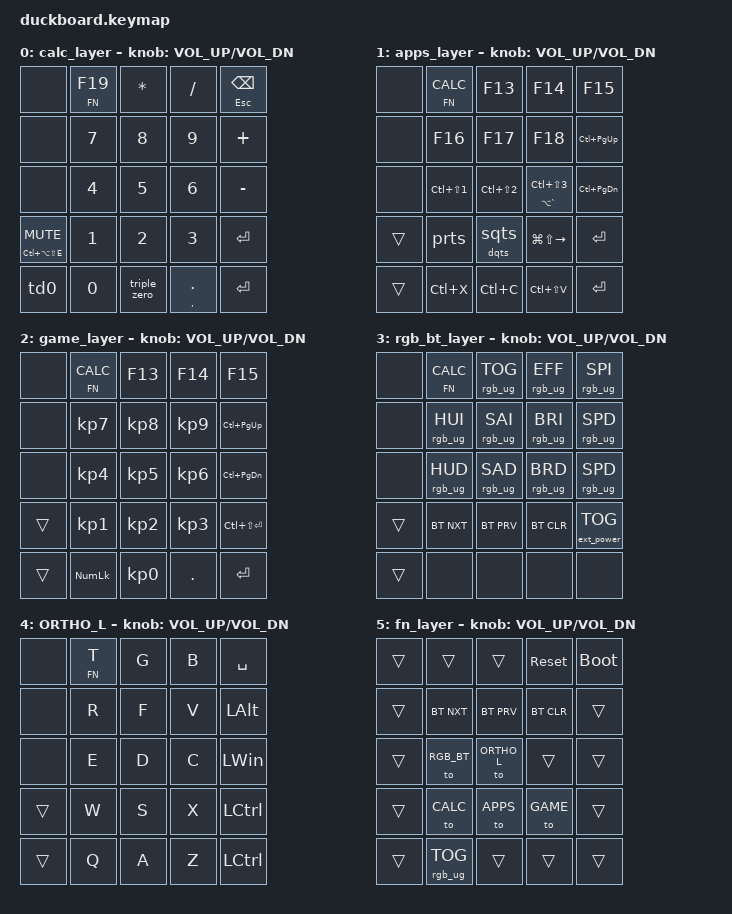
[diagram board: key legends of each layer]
/* Copyright (c) 2020 The ZMK Contributors
 * SPDX-License-Identifier: MIT
 * Author: Edited from Jack Hartstein
 */
#include <behaviors.dtsi>
#include <dt-bindings/zmk/keys.h>
#include <dt-bindings/zmk/rgb.h>
#include <dt-bindings/zmk/bt.h>
#include <dt-bindings/zmk/ext_power.h>
#include <dt-bindings/zmk/outputs.h>
#include <dt-bindings/led/led.h>

#define CALC 0
#define APPS 1
#define GAME 2
#define RGB_BT 3
#define ORTHO_L 4
#define TIMEOUT 75
#define FN 5

/ {
    behaviors {
        fn_key: fn_key {
            compatible = "zmk,behavior-hold-tap";
            #binding-cells = <2>;
            flavor = "hold-preferred";
            tapping-term-ms = <200>;
            bindings = <&mo>, <&kp>;
        };
        fn_return: fn_return {
            compatible = "zmk,behavior-hold-tap";
            #binding-cells = <2>;
            flavor = "hold-preferred";
            tapping-term-ms = <200>;
            bindings = <&mo>, <&to>;
        };
        fn_ortho: fn_ortho {
            compatible = "zmk,behavior-hold-tap";
            #binding-cells = <2>;
            flavor = "tap-preferred";
            tapping-term-ms = <200>;
            bindings = <&mo>, <&kp>;
        };
        td0: tap_dance_0 {
            compatible = "zmk,behavior-tap-dance";
            #binding-cells = <0>;
            tapping-term-ms = <200>;
            bindings = <&to APPS>, <&to GAME>;
        };
        td1: tap_dance_1 {
            compatible = "zmk,behavior-tap-dance";
            #binding-cells = <0>;
            tapping-term-ms = <500>;
            bindings = <&kp LC(LS(NUMBER_1))>, <&kp LC(LS(N2))>, <&kp LC(LS(N3))>;
        };
        qts: quotes {
            compatible = "zmk,behavior-hold-tap";
            #binding-cells = <2>;
            flavor = "hold-preferred";
            tapping-term-ms = <200>;
            bindings = <&dqts>, <&sqts>;
        };
    };
    macros {
        triple_zero: triple_zero {
            compatible = "zmk,behavior-macro";
            #binding-cells = <0>;
            wait-ms = <15>;
            tap-ms = <15>;
            bindings = <&kp NUMBER_0 &kp NUMBER_0 &kp NUMBER_0>;
        };
        prts: parentheses {
            compatible = "zmk,behavior-macro";
            #binding-cells = <0>;
            wait-ms = <15>;
            tap-ms = <15>;
            bindings = <&kp LPAR &kp RPAR>, <&kp LEFT>;
        };
        dqts: double_quotes {
            compatible = "zmk,behavior-macro";
            #binding-cells = <0>;
            wait-ms = <15>;
            tap-ms = <15>;
            bindings = <&kp DQT &kp DQT>, <&kp LEFT>;
        };
        sqts: single_quotes {
            compatible = "zmk,behavior-macro";
            #binding-cells = <0>;
            wait-ms = <15>;
            tap-ms = <15>;
            bindings = <&kp SQT &kp SQT>, <&kp LEFT>;
        };
    };
    combos {
        compatible = "zmk,combos";
        combo_JPKey {
            timeout-ms = <TIMEOUT>;
            key-positions = <11 13>;
            bindings = <&kp LA(GRAVE)>;
        };
    };
    keymap {
        compatible = "zmk,keymap";
        calc_layer {
            bindings = <
                &none                      &fn_key FN F19 &kp ASTERISK   &kp SLASH       &mt ESC BACKSPACE
                &none                      &kp NUMBER_7   &kp NUMBER_8   &kp NUMBER_9    &kp PLUS
                &none                      &kp NUMBER_4   &kp NUMBER_5   &kp NUMBER_6    &kp MINUS
                &mt LC(LA(LS(E))) C_MUTE   &kp NUMBER_1   &kp NUMBER_2   &kp NUMBER_3    &kp ENTER
                &td0                       &kp NUMBER_0   &triple_zero   &mt COMMA DOT   &kp ENTER
            >;
            sensor-bindings = <&inc_dec_kp C_VOL_UP C_VOL_DN>;
        };
        apps_layer {
            bindings = <
                &none    &fn_return FN CALC               &kp F13                &kp F14                          &kp F15
                &none    &kp F16                &kp F17                &kp F18                          &kp LC(PG_UP)
                &none    &kp LC(LS(NUMBER_1))   &kp LC(LS(NUMBER_2))   &mt LA(GRAVE) LC(LS(NUMBER_3))   &kp LC(PG_DN)
                &trans   &prts                  &qts 0 0               &kp LG(LS(RIGHT))                &kp ENTER
                &trans   &kp LC(X)              &kp LC(C)              &kp LC(LS(V))                    &kp ENTER
            >;
            sensor-bindings = <&inc_dec_kp C_VOL_UP C_VOL_DN>;
        };
        game_layer {
            bindings = <
                &none    &fn_return FN CALC         &kp F13     &kp F14     &kp F15
                &none    &kp KP_N7        &kp KP_N8   &kp KP_N9   &kp LC(PG_UP)
                &none    &kp KP_N4        &kp KP_N5   &kp KP_N6   &kp LC(PG_DN)
                &trans   &kp KP_N1        &kp KP_N2   &kp KP_N3   &kp LC(LS(ENTER))
                &trans   &kp KP_NUMLOCK   &kp KP_N0   &kp DOT     &kp ENTER
            >;
            sensor-bindings = <&inc_dec_kp C_VOL_UP C_VOL_DN>;
        };
        rgb_bt_layer {
            bindings = <
                &none    &fn_return FN CALC          &rgb_ug RGB_TOG   &rgb_ug RGB_EFF   &rgb_ug RGB_SPI
                &none    &rgb_ug RGB_HUI   &rgb_ug RGB_SAI   &rgb_ug RGB_BRI   &rgb_ug RGB_SPD
                &none    &rgb_ug RGB_HUD   &rgb_ug RGB_SAD   &rgb_ug RGB_BRD   &rgb_ug RGB_SPD
                &trans   &bt BT_NXT        &bt BT_PRV        &bt BT_CLR        &ext_power EP_TOG
                &trans   &none             &none             &none             &none
            >;
            sensor-bindings = <&inc_dec_kp C_VOL_UP C_VOL_DN>;
        };
        ORTHO_L {
            bindings = <
                &none    &fn_ortho FN T &kp G   &kp B   &kp SPACE
                &none    &kp R   &kp F   &kp V   &kp LALT
                &none    &kp E   &kp D   &kp C   &kp LWIN
                &trans   &kp W   &kp S   &kp X   &kp LCTRL
                &trans   &kp Q   &kp A   &kp Z   &kp LCTRL
            >;
            sensor-bindings = <&inc_dec_kp C_VOL_UP C_VOL_DN>;
        };
        fn_layer {
            bindings = <
                &trans   &trans       &trans       &sys_reset    &bootloader
                &trans   &bt BT_NXT   &bt BT_PRV   &bt BT_CLR    &trans
                &trans   &to RGB_BT   &to ORTHO_L  &trans        &trans
                &trans   &to CALC     &to APPS     &to GAME      &trans
                &trans   &rgb_ug RGB_TOG &trans    &trans        &trans
            >;
            sensor-bindings = <&inc_dec_kp C_VOL_UP C_VOL_DN>;
        };
    };
};
